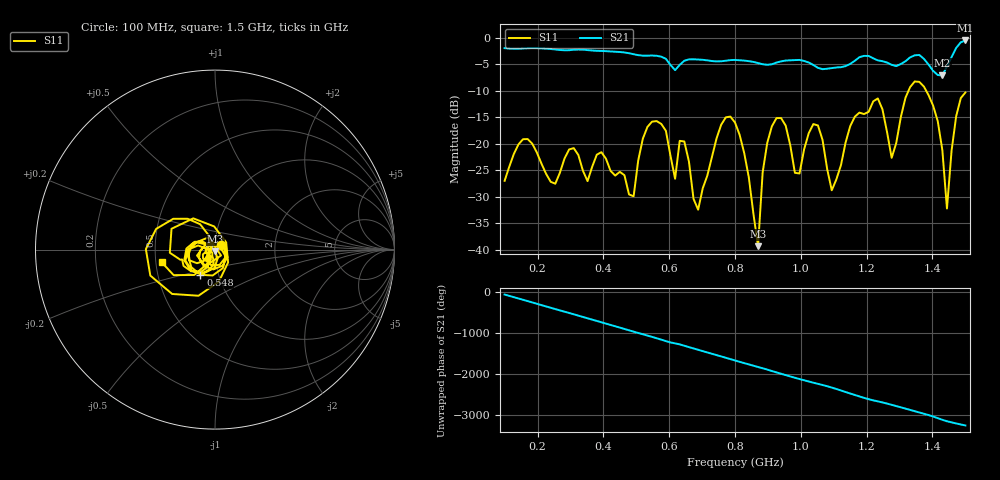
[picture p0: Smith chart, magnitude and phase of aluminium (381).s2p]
! NanoVNA-App
! Date: 2025-09-25 14:58:15
! Start: 100MHz Stop: 1,5GHz Points: 101
! S-Parameter data: F S11 S21 S12 S22
# Hz S RI R 50
!  Frequency  S11_Real  S11_Imag  S21_Real  S21_Imag  S12_Real  S12_Imag  S22_Real  S22_Imag
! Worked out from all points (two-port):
!   101 points, 100 MHz to 1.5 GHz, reference 50 ohm
!   highest |S21| = -0.47 dB at 1.5 GHz (marker M1); lowest = -7.1 dB at 1.43 GHz (marker M2)
!   |S21| within 3 dB of the highest: start of sweep to 570.9 MHz; 1.459 GHz to end of sweep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
!   lowest |S11| = -39.3 dB at 870 MHz (marker M3), VSWR 1.02, Z = 50.2 - j1.06 ohm
!   |S11| at or under -10 dB: start of sweep to 1.327 GHz; 1.381 GHz to end of sweep
!   S12 and S22 are empty: the file has one direction only
!   S11 on the Smith chart (normalised r, x): 100 MHz: 1.07, +0.06; 548 MHz: 0.82, -0.24; 1.5 GHz: 0.54, -0.08
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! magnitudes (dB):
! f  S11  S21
! 100 MHz  -27.0  -1.9
! 156 MHz  -19.1  -2.0
! 338 MHz  -25.1  -2.2
! 492 MHz  -29.9  -3.1
! 548 MHz  -15.8  -3.3
! 576 MHz  -16.2  -3.5
! 618 MHz  -26.6  -6.1
! 646 MHz  -19.5  -4.3
! 688 MHz  -32.4  -4.1
! 800 MHz  -16.0  -4.1
! 870 MHz  -39.3  -4.7
! 912 MHz  -16.7  -5.0
! 996 MHz  -25.6  -4.1
! 1.038 GHz  -16.3  -5.1
! 1.094 GHz  -28.8  -5.7
! 1.234 GHz  -11.4  -4.2
! 1.276 GHz  -22.6  -5.1
! 1.346 GHz  -8.2  -3.3
! 1.43 GHz  -21.2  -7.1
! 1.444 GHz  -32.2  -5.4
! 1.472 GHz  -14.8  -1.9
! 1.5 GHz  -10.3  -0.5
